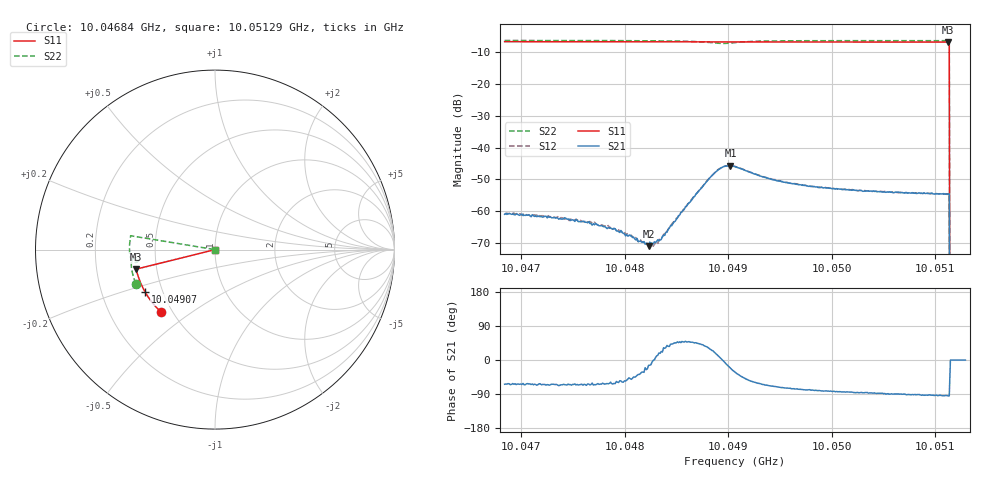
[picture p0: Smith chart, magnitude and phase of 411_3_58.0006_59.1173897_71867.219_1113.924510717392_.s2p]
#  HZ  S  RI  R  50.00
! Rohde & Schwarz Vector Network Analyzer
! Rohde-Schwarz,ZNB20-2Port,1311601062101988,3.16
! Created: UTC 3/21/2024, 1:08:45 AM
! freq[Hz]  re:S11  im:S11  re:S21  im:S21  re:S12  im:S12  re:S22  im:S22
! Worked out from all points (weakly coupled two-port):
!   401 points, 10.04684 GHz to 10.05129 GHz, reference 50 ohm
!   highest |S21| = -45.71 dB at 10.04902 GHz (marker M1); lowest = -71.0 dB at 10.04823 GHz (marker M2)
!   lowest |S11| = -6.9 dB at 10.05113 GHz (marker M3), VSWR 2.65, Z = 19.1 - j5.27 ohm
!   |S11| at or under -10 dB: 10.05114 GHz to end of sweep
!   |S22| runs from - to -6.4 dB; largest |S21 - S12| = 0.00037
!   S11 on the Smith chart (normalised r, x): 10.04684 GHz: 0.44, -0.39; 10.04907 GHz: 0.40, -0.24; 10.05129 GHz: 1.00, +0.00
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1.0046841e10  -0.2992 -0.3492  0.000393 -0.000805  0.000458 -0.000781  -0.4412 -0.1893
1.0047253e10  -0.3188 -0.3302  0.000335 -0.000712  0.000384 -0.000721  -0.4508 -0.1631
1.0047587e10  -0.3337 -0.314  0.000301 -0.000616  0.000323 -0.000612  -0.4573 -0.1412
1.0047854e10  -0.3452 -0.3007  0.00026 -0.000483  0.000289 -0.000458  -0.4618 -0.1227
1.0048065e10  -0.3539 -0.2897  0.000256 -0.000317  0.000299 -0.000293  -0.4645 -0.1073
1.0048154e10  -0.3573 -0.285  0.000275 -0.000196  0.000284 -0.000211  -0.4654 -0.1008
1.0048232e10  -0.3604 -0.281  0.000274 -6.89e-05  0.000292 -6.12e-05  -0.4659 -0.0946
1.0048299e10  -0.363 -0.2773  0.000321 3.59e-05  0.000319 2.08e-05  -0.4664 -0.0892
1.0048332e10  -0.3643 -0.2756  0.000325 0.00011  0.000334 0.000127  -0.4664 -0.0866
1.0048366e10  -0.3656 -0.2738  0.000375 0.000145  0.000336 0.000205  -0.4663 -0.0837
1.0048599e10  -0.3742 -0.2609  0.000817 0.000896  0.000741 0.00095  -0.4634 -0.062
1.0048833e10  -0.3822 -0.2479  0.00308 0.0016  0.00301 0.0018  -0.442 -0.0433
1.0048933e10  -0.3855 -0.2423  0.0048 0.000268  0.00477 0.000613  -0.428 -0.0521
1.0049022e10  -0.3884 -0.2375  0.00482 -0.0019  0.00495 -0.00158  -0.4314 -0.0672
1.0049067e10  -0.3898 -0.2351  0.00424 -0.00266  0.00446 -0.00244  -0.4383 -0.0711
1.0049423e10  -0.4011 -0.2146  0.00115 -0.00294  0.00131 -0.0029  -0.4698 -0.0464
1.0049812e10  -0.412 -0.1915  0.00046 -0.00241  0.000577 -0.00238  -0.4755 -0.0147
1.0050558e10  -0.4292 -0.1456  -1.15e-05 -0.00201  0.000156 -0.00201  -0.4751 0.0385
1.0051115e10  -0.4387 -0.1105  -0.000132 -0.00183  -4e-05 -0.00187  -0.4703 0.0758
1.0051126e10  -0.4387 -0.1097  -0.000153 -0.00184  -6.22e-05 -0.00188  -0.4701 0.0765
1.005117e10  0 0  0 0  0 0  0 0
1.0051293e10  0 0  0 0  0 0  0 0
